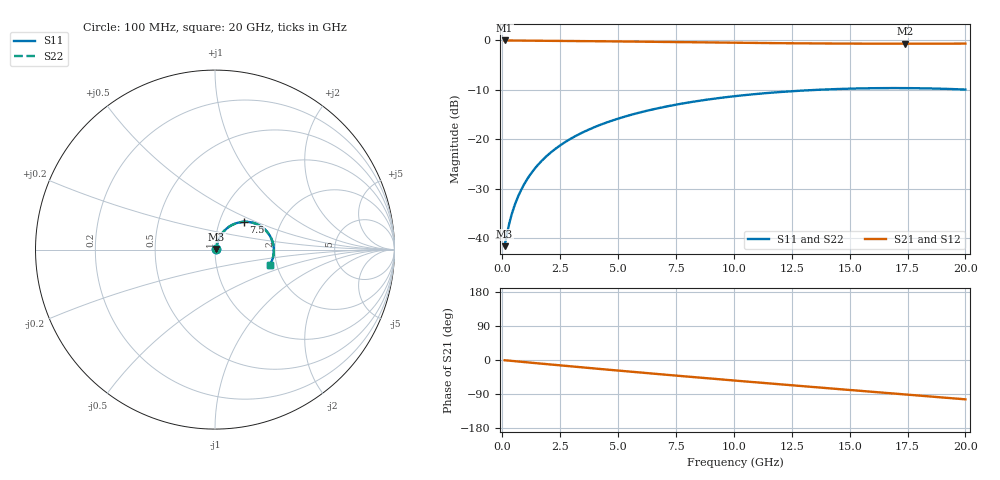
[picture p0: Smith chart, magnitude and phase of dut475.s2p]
! Touchstone file exported from HFSS 2026.1.0
!  File:  C:/ffzhzh/LocalFiles/Ansys_Project_Files/temp_train_TSV_RDL_475_1783103539_37876.aedt
!  Generated:  02:41:34 AM Jul  4, 2026
!  Design:  TSV_RDL
!  Project:  temp_train_TSV_RDL_475_1783103539_37876
! Variables:
!  h_bsmrdl = 4.29um
!  h_ox = 20um
!  h_rdl = 5um
!  h_sub = 54.78um
!  h_tmrdl = 5.26um
!  h_tsv = 54.78um
!  h_via = 3um
!  l_bsmrdl = 156.38um
!  l_sub = 1819.5um
!  l_tmrdl = 211.13um
!  m_sub = 200um
!  pitch = 36.03um
!  r_tsv = 9.23um
!  s_tmrdl = 10um
!  w_bsmrdl = 11.96um
!  w_sub = 500um
!  w_tmrdl = 23.32um
!  x_tsv_center1 = 222.79um
!  x_tsv_center2 = 391.13um
!  x_tsv_center3 = 625.58um
!  x_tsv_center4 = 793.92um
!  x_tsv_center5 = 1028.37um
!  x_tsv_center6 = 1196.71um
# GHz S MA R 50.000000
! Terminal data exported
! Port[1] = TM_RDL1_1_T1
! Port[2] = TM_RDL5_1_T1
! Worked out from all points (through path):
!   200 points, 100 MHz to 20 GHz, reference 50 ohm
!   highest |S21| = -0.06 dB at 100 MHz (marker M1); lowest = -0.7 dB at 17.4 GHz (marker M2)
!   group delay of S21, straight-line fit = 14.3 ps
!   lowest |S11| = -41.6 dB at 100 MHz (marker M3), VSWR 1.02, Z = 50.7 + j0.406 ohm
!   |S11| at or under -10 dB: start of sweep to 13.78 GHz
!   |S22| runs from -41.6 to -9.7 dB; largest |S21 - S12| = 2.5e-14
!   S11 on the Smith chart (normalised r, x): 100 MHz: 1.01, +0.01; 7.5 GHz: 1.30, +0.42; 20 GHz: 1.83, -0.35
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0.1  0.008291 28.8  0.9928 -0.6  0.9928 -0.6  0.008291 28.8
! Gamma 0 0 0 0
! Port Impedance 50 0 50 0
0.2  0.01098 45.0  0.9924 -1.2  0.9924 -1.2  0.01098 45.0
0.3  0.01404 53.6  0.992 -1.8  0.992 -1.8  0.01404 53.6
0.5  0.02038 62.3  0.9913 -2.9  0.9913 -2.9  0.02038 62.3
0.6  0.02362 64.8  0.9911 -3.5  0.9911 -3.5  0.02362 64.8
0.8  0.0302 67.9  0.9906 -4.6  0.9906 -4.6  0.0302 67.9
1.2  0.04357 70.4  0.9895 -6.9  0.9895 -6.9  0.04357 70.4
1.7  0.06031 70.4  0.9879 -9.7  0.9879 -9.7  0.06031 70.4
2.2  0.0768 69.1  0.9858 -12.5  0.9858 -12.5  0.0768 69.1
2.8  0.09608 66.8  0.983 -15.9  0.983 -15.9  0.09608 66.8
3.5  0.1178 63.6  0.9794 -19.7  0.9794 -19.7  0.1178 63.6
4.2  0.1385 60.3  0.9754 -23.6  0.9754 -23.6  0.1385 60.3
5  0.1611 56.4  0.9707 -27.9  0.9707 -27.9  0.1611 56.4
6.8  0.2069 47.5  0.9596 -37.5  0.9596 -37.5  0.2069 47.5
7.5  0.2229 44.0  0.9553 -41.2  0.9553 -41.2  0.2229 44.0
10.1  0.2727 31.3  0.9405 -54.6  0.9405 -54.6  0.2727 31.3
11.7  0.2955 23.5  0.9329 -62.7  0.9329 -62.7  0.2955 23.5
13.4  0.3132 15.4  0.9265 -71.2  0.9265 -71.2  0.3132 15.4
15  0.3236 7.8  0.9225 -79.1  0.9225 -79.1  0.3236 7.8
16.7  0.3279 -0.3  0.9205 -87.5  0.9205 -87.5  0.3279 -0.2
17.4  0.3278 -3.6  0.9203 -90.9  0.9203 -90.9  0.3277 -3.6
20  0.3168 -15.9  0.923 -103.8  0.923 -103.8  0.3168 -15.9
